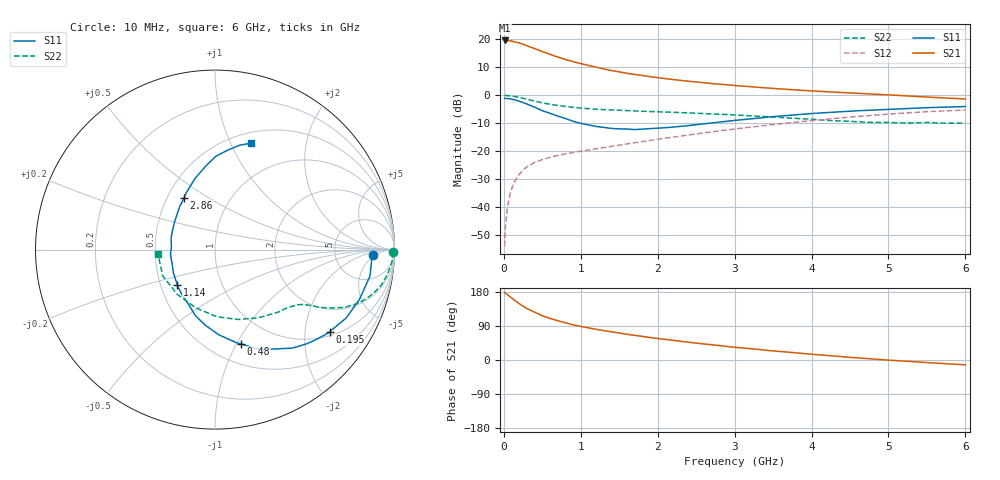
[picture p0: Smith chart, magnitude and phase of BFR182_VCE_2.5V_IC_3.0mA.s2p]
! Infineon Technologies  Discrete & RF Semiconductors
! BFR182
! VCE =  2.5 V,  IC =  3.0 mA
! Common Emitter S-Parameters:  Nov 2015
# GHz  S  MA  R  50
!  f  S11  S21  S12  S22
! GHz  MAG  ANG  MAG  ANG  MAG  ANG  MAG  ANG
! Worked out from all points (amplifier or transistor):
!   210 points, 10 MHz to 6 GHz, reference 50 ohm
!   highest |S21| = 19.6 dB at 10 MHz (marker M1)
!   |S21| within 3 dB of that: start of sweep to 412.2 MHz
!   unconditionally stable (mu >= 1): 1.284 GHz to 2.958 GHz
!   at 185 MHz: K = 0.24, MSG = 23.9 dB, |S12| = -28.9 dB
!   at 1.52 GHz: K = 1.05, MAG = 11.6 dB, |S12| = -17.8 dB
!   at 6 GHz: K = 0.89, MSG = 2.0 dB, |S12| = -5.3 dB
!   S11 on the Smith chart (normalised r, x): 10 MHz: 15, -4; 195 MHz: 1.12, -2.69; 480 MHz: 0.70, -1.04; 1.14 GHz: 0.61, -0.26; 2.86 GHz: 0.61, +0.40; 6 GHz: 0.61, +1.20
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0.01  0.8813 -2.0  9.529 178.5  0.002 89.4  0.9936 -0.8
0.02  0.8748 -3.8  9.312 176.6  0.0043 87.2  0.9911 -1.8
0.035  0.8743 -6.7  9.385 174.2  0.0074 85.1  0.9891 -3.0
0.1  0.8512 -19.1  9.338 163.9  0.0208 80.3  0.9701 -8.4
0.15  0.8239 -27.6  8.912 155.5  0.0302 74.6  0.9466 -12.2
0.195  0.7857 -35.7  8.673 149.1  0.0376 70.9  0.9179 -15.2
0.24  0.7477 -42.9  8.28 143.1  0.0444 67.5  0.8876 -17.8
0.3  0.6977 -51.9  7.657 135.8  0.0525 64.5  0.8493 -20.7
0.4  0.613 -65.5  6.856 125.8  0.063 59.5  0.7867 -24.2
0.48  0.5451 -74.7  6.177 118.6  0.0689 57.1  0.7409 -26.0
0.6  0.4744 -87.6  5.368 109.7  0.0777 54.6  0.6875 -28.1
0.7  0.4251 -97.2  4.823 103.6  0.0842 53.9  0.6556 -29.2
0.9  0.3425 -114.6  3.98 92.8  0.0949 53.3  0.6065 -30.7
1.02  0.3101 -126.5  3.614 87.8  0.1009 53.9  0.5852 -31.6
1.14  0.2865 -137.2  3.306 83.2  0.1074 54.5  0.569 -32.5
1.6  0.2492 -174.6  2.462 67.7  0.1348 56.4  0.5315 -36.6
2.02  0.2583 157.3  2.042 56.2  0.1645 57.8  0.5049 -41.7
2.86  0.337 120.7  1.552 36.7  0.236 56.0  0.4536 -56.0
3.1  0.3653 114.3  1.456 31.8  0.2585 54.5  0.4361 -61.4
4.1  0.48 94.6  1.174 13.5  0.3623 45.9  0.3643 -92.2
5.1  0.5672 81.3  0.996 -1.6  0.4689 33.5  0.322 -134.7
6  0.6274 71.1  0.856 -12.9  0.5437 19.8  0.319 -175.5
